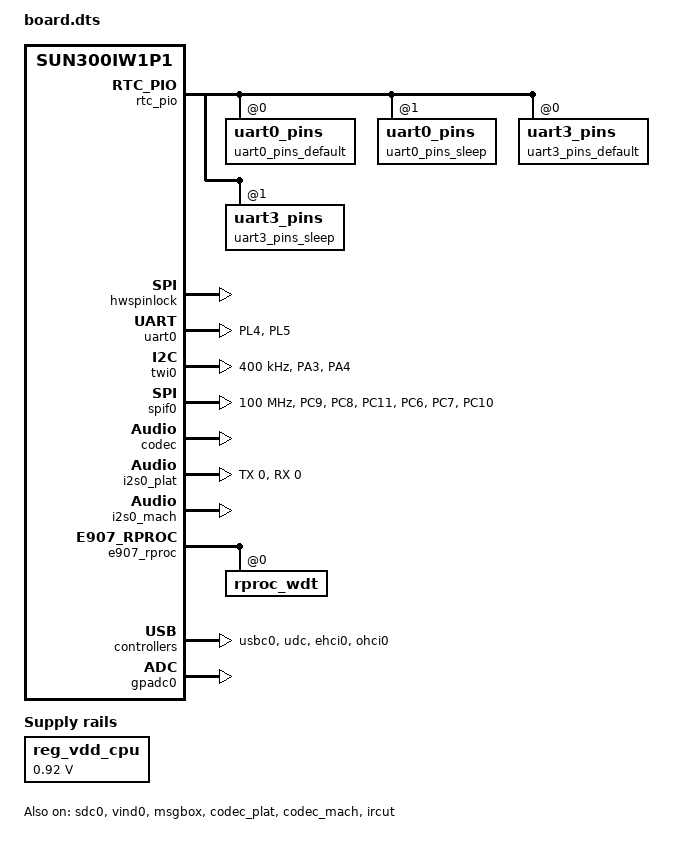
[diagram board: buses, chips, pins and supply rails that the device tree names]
// SPDX-License-Identifier: (GPL-2.0+ or MIT)

/dts-v1/;

#include "sun300iw1p1.dtsi"

/{
	board = "V821", "V821-Avaota F1";
	compatible = "allwinner,v821", "riscv,sun300iw1p1";
	aliases {
	};

	reg_vdd_cpu: vdd-cpu {
		compatible = "regulator-fixed";
		regulator-name = "vdd_cpu";
		regulator-min-microvolt = <920000>;
		regulator-max-microvolt = <920000>;
		regulator-always-on;
		regulator-boot-on;
		status = "okay";
	};

	/* used for hib & ultra standby poweron source enable mask */
	/* bit 0 ~ bit 7 - pl 0 ~pl 7 */
	/* bit 9 rtc alarm0 */
	/* bit 10 rtc alarm1 */
	/* bit 11 wakeuptimer */
	/* bit 12 wlan, keep 0 because hib has no wlan and ultra wakes up by wlan on remote core */
	poweron-source {
		hib_poweron_source  = <0x000007FF>;
		ultra_poweron_source  = <0x000007FF>;
	};

	reserved-memory {
		rv_ddr_reserved: rvddrreserved@81000000 {
			reg = <0x0 0x81000000 0x0 0x200000>;
			no-map;
		};
		/*
		* The name should be "vdev%dbuffer".
		* Its size should be not less than
		*     RPMSG_BUF_SIZE * (num of buffers in a vring) * 2
		*   = 512 * (num of buffers in a vring) * 2
		*/
		rv_vdev0buffer: vdev0buffer@81200000 {
			compatible = "shared-dma-pool";
			reg = <0x0 0x81200000 0x0 0x40000>;
			no-map;
		};
		/*
		* The name should be "vdev%dvring%d".
		* The size of each should be not less than
		*     PAGE_ALIGN(vring_size(num, align))
		*   = PAGE_ALIGN(16 * num + 6 + 2 * num + (pads for align) + 6 + 8 * num)
		*
		* (Please refer to the vring layout in include/uapi/linux/virtio_ring.h)
		*/
		rv_vdev0vring0: vdev0vring0@81240000 {
			reg = <0x0 0x81240000 0x0 0x2000>;
			no-map;
		};

		rv_vdev0vring1: vdev0vring1@81242000 {
			reg = <0x0 0x81242000 0x0 0x2000>;
			no-map;
		};

		e907_mem_fw: e907_mem_fw@81244000 {
			/* boot0 & uboot0 load elf addr */
			reg = <0x0 0x81244000 0x0 0x00200000>;
		};

		e907_share_irq_table: share_irq_table@81644000 {
			reg = <0x0 0x81644000 0x0 0x2000>;
			no-map;
		};

		e907_rpbuf_reserved:e907_rpbuf@81646000 {
			compatible = "shared-dma-pool";
			reg = <0x0 0x81646000 0x0 0x8000>;
			no-map;
		};

		size_pool {
			reg = <0 0x82000000 0 0x01400000>;
		};

		linux,cma {
			size = <0x0 0x400000>;
		};
	};

	reserved-irq {
		share-e907 {
			arch-name = "e907";
			memory-region = <&e907_share_irq_table>;
			/* defined by sun300iw1-share-irq-dt.h */
			share-irq =
					<1    0x1    E907_PA_IRQ_NUM    A27_PA_IRQ_NUM    0x00000000>,
					<3    0x3    E907_PC_IRQ_NUM    A27_PC_IRQ_NUM    0x00000000>,
					<4    0x4    E907_PD_IRQ_NUM    A27_PD_IRQ_NUM    0x00000000>,
					<12   0xc    E907_PL_IRQ_NUM    A27_PL_IRQ_NUM    0x00000000>;
		};
	};

	hifbypass: hifbypass {
		compatible = "allwinner,sun300wi-sip-wifi";
		interrupts-extended = <&plic0 160 IRQ_TYPE_LEVEL_HIGH>;
		clocks = <&aon_ccu CLK_DCXO>;
		clock-names = "hosc";
		status = "disabled";
	};

	rpbuf_controller0: rpbuf_controller0@0 {
		compatible = "allwinner,rpbuf-controller";
		remoteproc = <&e907_rproc>;
		ctrl_id = <0>;
		memory-region = <&e907_rpbuf_reserved>;
		status = "okay";
	};

	rpbuf_xradio: rpbuf_xradio@0 {
		compatible = "allwinner,rpbuf-xradio";
		rpbuf = <&rpbuf_controller0>;
		status = "okay";
	};

	heap_size_pool@0{
		compatible = "allwinner,size_pool";
		heap-name = "size_pool";
		heap-id = <0x7>;
		heap-base = <0x82000000>;
		heap-size = <0x01400000>;
		heap-type = "ion_size_pool";
		thrs = <100>;
		sizes = <0 20480>;
		fall_to_big_pool = <1>;
	};

	gpio-motor@0 {
		compatible = "allwinner,gpio-motor";
		ab-pin-black = <&pio PD 12 GPIO_ACTIVE_HIGH>;
		ab-pin-yellow = <&pio PD 13 GPIO_ACTIVE_HIGH>;
		ab-pin-brown = <&pio PD 14 GPIO_ACTIVE_HIGH>;
		ab-pin-blue = <&pio PD 15 GPIO_ACTIVE_HIGH>;
		cd-pin-black = <&pio PD 16 GPIO_ACTIVE_HIGH>;
		cd-pin-yellow = <&pio PD 17 GPIO_ACTIVE_HIGH>;
		cd-pin-brown = <&pio PD 18 GPIO_ACTIVE_HIGH>;
		cd-pin-blue = <&pio PD 19 GPIO_ACTIVE_HIGH>;
		status = "disabled";
	};

	ae350_standby_debug:ae350_standby_debug@1 {
		compatible = "allwinner,sun300iw1-ae350-standby-debug";
		mboxes = <&msgbox 2>;
		mbox-names = "ae350-notify";
		status = "okay";
	};
};

&rtc_pio {
	uart0_pins_default: uart0_pins@0 {
		pins = "PL4", "PL5";
		function = "uart0";
	};

	uart0_pins_sleep: uart0_pins@1 {
		pins = "PL4", "PL5";
		function = "io_disabled";
	};

	uart3_pins_default: uart3_pins@0 {
		pins = "PL2", "PL3";
		function = "uart3";
	};

	uart3_pins_sleep: uart3_pins@1 {
		pins = "PL2", "PL3";
		function = "io_disabled";
	};
};

&pio {
	uart1_pins_default: uart1_pins@0 {
		pins = "PD7", "PD8", "PD9", "PD10";
		function = "uart1";
	};

	uart1_pins_sleep: uart1_pins@1 {
		pins = "PD7", "PD8", "PD9", "PD10";
		function = "io_disabled";
	};

	uart2_pins_default: uart2_pins@0 {
		pins = "PA5", "PA6", "PA7", "PA8";
		function = "uart2";
	};

	uart2_pins_sleep: uart2_pins@1 {
		pins = "PA5", "PA6", "PA7", "PA8";
		function = "io_disabled";
	};

	gmac0_pins_default: gmac_pins@0 {
		pins = "PD1", "PD2", "PD3",
			"PD4", "PD5", "PD6", "PD7",
			"PD8", "PD9", "PD10", "PD11";
		function = "rmii";
		allwinner,drive = <3>;
		bias-pull-up;
	};

	gmac0_pins_sleep: gmac_pins@1 {
		pins = "PD1", "PD2", "PD3",
			"PD4", "PD5", "PD6", "PD7",
			"PD8", "PD9", "PD10", "PD11";
		function = "io_disabled";
	};

	pwm8_pins_active: pwm8@0 {
		pins = "PD18";
		function = "pwm0_8";
	};
	pwm8_pins_sleep: pwm8@1 {
		pins = "PD18";
		function = "gpio_in";
		bias-pull-down;
	};
	pwm9_pins_active: pwm9@0 {
		pins = "PD19";
		function = "pwm0_9";
	};
	pwm9_pins_sleep: pwm9@1 {
		pins = "PD19";
		function = "gpio_in";
		bias-pull-down;
	};

	twi0_pins_default: twi0@0 {
		pins = "PA3", "PA4";
		function = "twi0";
		allwinner,drive = <0>;
		bias-pull-up;
	};

	twi0_pins_sleep: twi0@1 {
		pins = "PA3", "PA4";
		function = "gpio_in";
	};

	spi0_pins_default: spi0@0 {
		pins = "PC9", "PC8", "PC11"; /* clk, mosi, miso */
		function = "spi0";
		allwinner,drive = <0>;
	};

	spi0_pins_cs: spi0@1 {
		pins = "PC6", "PC7", "PC10"; /* wp, hold, cs */
		function = "spi0";
		allwinner,drive = <0>;
		bias-pull-up;
	};

	spi0_pins_sleep: spi0@2 {
		pins = "PC6", "PC7", "PC9", "PC8", "PC11", "PC10";
		function = "io_disabled";
	};

	sdc0_pins_a: sdc0@0 {
		pins = "PC0", "PC1", "PC2",
				"PC3", "PC5";
		function = "sdc0";
		allwinner,drive = <3>;
		bias-pull-up;
	};

	sdc0_pins_c: sdc0@2 {
		pins = "PC0", "PC1", "PC2",
				"PC3", "PC4", "PC5";
		function = "gpio_in";
	};

	sdc0_pins_d: sdc0@3 {
		pins = "PC4";
		function = "sdc0";
		allwinner,drive = <3>;
		bias-disable;
	};

	/* for uboot card probe */
	sdc0_pins_uboot: sdc0@4 {
		allwinner,pins = "PC0", "PC1", "PC2",
				"PC3", "PC4", "PC5";
		allwinner,function = "sdc0";
		allwinner,muxsel = <2>;
		allwinner,drive = <3>;
		allwinner,pull = <1>;
		power-source = <3300>;
	};

	spif_pins_default: spif@0 {
		pins = "PC9", "PC8", "PC11"; /* clk, mosi, miso */
		function = "spif";
		allwinner,drive = <1>;
	};

	spif_pins_cs: spif@1 {
		pins = "PC6", "PC7", "PC10"; /* wp, hold, cs */
		function = "spif";
		allwinner,drive = <1>;
		bias-pull-up;
	};

	spif_pins_sleep: spif@2 {
		pins = "PC6", "PC7", "PC9", "PC8", "PC11", "PC10";
		function = "io_disabled";
	};
};

&soc {
	card0_boot_para@0 {
		device_type = "card0_boot_para";
		card_ctrl = <0x0>;
		card_high_speed = <0x1>;
		card_line = <0x4>;
		pinctrl-0 = <&sdc0_pins_uboot>;
		clk_type = "typ1";
	};
	addr_mgt: addr_mgt {
		compatible = "allwinner,sunxi-addr_mgt";
		type_addr_wifi = <0x0>;
		type_addr_bt   = <0x0>;
		type_addr_eth  = <0x0>;
		status = "okay";
	};
};

&hwspinlock {
	status = "okay";
};

&uart0 {
	pinctrl-names = "default", "sleep";
	pinctrl-0 = <&uart0_pins_default>;
	pinctrl-1 = <&uart0_pins_sleep>;
	status = "okay";
};

&uart1 {
	pinctrl-names = "default", "sleep";
	pinctrl-0 = <&uart1_pins_default>;
	pinctrl-1 = <&uart1_pins_sleep>;
	status = "disabled";
};

&uart2 {
	pinctrl-names = "default", "sleep";
	pinctrl-0 = <&uart2_pins_default>;
	pinctrl-1 = <&uart2_pins_sleep>;
	status = "disabled";
};

&uart3 {
	pinctrl-names = "default", "sleep";
	pinctrl-0 = <&uart3_pins_default>;
	pinctrl-1 = <&uart3_pins_sleep>;
	status = "disabled";
};

&twi0 {
	clock-frequency = <400000>;
	pinctrl-0 = <&twi0_pins_default>;
	pinctrl-1 = <&twi0_pins_sleep>;
	pinctrl-names = "default", "sleep";
	/* For stability and backwards compatibility, we recommend setting 'twi_drv_used' to 1 */
	twi_drv_used = <1>;
	status = "okay";
};

&soc_pmu0 {
	status = "okay";
};

&sdc0 {
	pinctrl-names = "default", "sleep";
	pinctrl-0 = <&sdc0_pins_a &sdc0_pins_d>;
	pinctrl-1 = <&sdc0_pins_c>;
	bus-width = <4>;
	cd-used-24M;
	cd-gpios = <&pio PC 15 (GPIO_ACTIVE_LOW | GPIO_PULL_UP)>;
	/*non-removable;*/
	/*broken-cd;*/
	/*cd-inverted*/
	/*data3-detect;*/
	cap-sd-highspeed;
	/*sd-uhs-sdr50;*/
	/*sd-uhs-ddr50;*/
	/*sd-uhs-sdr104;*/
	no-sdio;
	no-mmc;
	/*sunxi-power-save-mode;*/
	sunxi-dis-signal-vol-sw;
	max-frequency = <50000000>;
	ctl-spec-caps = <0x8>;
	status = "okay";
};

&pwm0_8 {
	pinctrl-names = "active", "sleep";
	pinctrl-0 = <&pwm8_pins_active>;
	pinctrl-1 = <&pwm8_pins_sleep>;
	status = "disabled";
};

&pwm0_9 {
	pinctrl-names = "active", "sleep";
	pinctrl-0 = <&pwm9_pins_active>;
	pinctrl-1 = <&pwm9_pins_sleep>;
	status = "disabled";
};

&spi0 {
	pinctrl-0 = <&spi0_pins_default &spi0_pins_cs>;
	pinctrl-1 = <&spi0_pins_sleep>;
	pinctrl-names = "default", "sleep";
	sunxi,spi-bus-mode = <SUNXI_SPI_BUS_NOR>;
	sunxi,spi-cs-mode = <SUNXI_SPI_CS_SOFT>;
	status = "disabled";

	dmas;
	dma-names;
	spi_board0 {
		device_type = "spi_board0";
		compatible = "spi-nor";
		spi-max-frequency = <100000000>;
		m25p,fast-read = <1>;
		/*individual_lock;*/
		reg = <0x0>;
		spi-rx-bus-width = <4>;
		spi-tx-bus-width = <4>;
		status = "disabled";
	};
};

&spif0 {
	clock-frequency = <100000000>;
	pinctrl-0 = <&spif_pins_default &spif_pins_cs>;
	pinctrl-1 = <&spif_pins_sleep>;
	pinctrl-names = "default", "sleep";
	spif-rx-bus-width = <0x4>;
	spif-tx-bus-width = <0x4>;
	//prefetch_read_mode_enabled;	/* choose prefect read mode */
	dtr_mode_enabled;				/* choose double edge trigger mode */
	io_mode_enabled;				/* 1_x_x && x_x_x mode */
	status = "okay";

	spif-nor  {
		device_type = "spi_board0";
		compatible = "spif-nor";
		spi-max-frequency = <0x5f5e100>;
		reg = <0x0>;
		status = "disabled";
	};
};

&mdio0 {
	status = "disabled";
	phy0: ethernet-phy@0 {
		/* JL11x1 */
		compatible = "ethernet-phy-id937c.4024",
			"ethernet-phy-ieee802.3-c22";
		reg = <0>;
		max-speed = <100>;  /* Max speed capability for rmii */
		reset-gpios = <&pio PC 16 GPIO_ACTIVE_LOW>;
		/* PHY datasheet rst time */
		reset-assert-us = <200000>;
		reset-deassert-us = <150000>;
		status = "disabled";
	};
};

&gmac0 {
	phy-mode = "rmii";
	pinctrl-names = "default", "sleep";
	pinctrl-0 = <&gmac0_pins_default>;
	pinctrl-1 = <&gmac0_pins_sleep>;
	sunxi,phy-clk-type = <0>;
	phy-handle = <&phy0>;
	tx-delay = <0>;
	rx-delay = <0>;
	status = "disabled";
};

&vind0 {
	csi_top = <200000000>;
	status = "okay";

	csi0: csi@45820000 {
		pinctrl-names = "csi_sm-default","csi_sm-sleep";
		pinctrl-0 = <>;
		pinctrl-1 = <>;
	};

	csi1: csi@45821000 {
		pinctrl-names = "default","sleep";
		pinctrl-0 = <&ncsi_bt656_pins_a>;
		pinctrl-1 = <&ncsi_bt656_pins_b>;
		status = "disabled";
	};

	tdm0: tdm@45908000 {
		work_mode = <0x0>;
	};

	isp00:isp@45900000 {
		work_mode = <0x0>;
		ldci_select = <0x1>;
	};

	isp01:isp@458ffffc {
		status = "disabled";
		ldci_select = <0x1>;
	};

	isp10:isp@4 {
		status = "disabled";
	};

	scaler00:scaler@45910000 {
		work_mode = <0x0>;
		status = "okay";
	};

	scaler01:scaler@4590fffc {
		work_mode = <0xff>;
		status = "disabled";
	};

	scaler10:scaler@45910400 {
		work_mode = <0x0>;
		status = "okay";
	};

	scaler11:scaler@459103fc {
		work_mode = <0xff>;
		status = "disabled";
	};

	actuator0: actuator@2108180 {
		device_type = "actuator0";
		actuator0_slave = <0x18>;
		actuator0_af_pwdn = <>;
		actuator0_afvdd = "afvcc-csi";
		actuator0_afvdd_vol = <2800000>;
		status = "disabled";
		actuator0_name;
	};

	flash0: flash@2108190 {
		device_type = "flash0";
		flash0_type = <2>;
		flash0_en = <>;
		flash0_mode = <>;
		flash0_flvdd = "";
		flash0_flvdd_vol = <>;
		device_id = <0>;
		status = "disabled";
	};

	sensor0: sensor@5812000 {
		device_type = "sensor0";
		sensor0_mname = "gc2083_mipi";
		sensor0_twi_cci_id = <0>;
		sensor0_twi_addr = <0x6e>;
		sensor0_mclk_id = <0>;
		sensor0_pos = "rear";
		sensor0_isp_used = <1>;
		sensor0_fmt = <1>;
		sensor0_stby_mode = <0>;
		sensor0_vflip = <0>;
		sensor0_hflip = <0>;
		sensor0_iovdd-supply = <>;
		sensor0_iovdd_vol = <>;
		sensor0_avdd-supply = <>;
		sensor0_avdd_vol = <>;
		sensor0_dvdd-supply = <>;
		sensor0_dvdd_vol = <>;
		sensor0_power_en = <>;
		sensor0_reset = <&pio PA 2 GPIO_ACTIVE_LOW>;
		sensor0_pwdn = <>;
		status = "okay";
		act_handle = <>;
	};

	sensor1: sensor@5812010 {
		device_type = "sensor1";
		sensor1_mname = "gc1084_mipi_2";
		sensor1_twi_cci_id = <0>;
		sensor1_twi_addr = <0x7e>;
		sensor1_mclk_id = <1>;
		sensor1_pos = "front";
		sensor1_isp_used = <1>;
		sensor1_fmt = <1>;
		sensor1_stby_mode = <0>;
		sensor1_vflip = <0>;
		sensor1_hflip = <0>;
		sensor1_iovdd-supply = <>;
		sensor1_iovdd_vol = <>;
		sensor1_avdd-supply = <>;
		sensor1_avdd_vol = <>;
		sensor1_dvdd-supply = <>;
		sensor1_dvdd_vol = <>;
		sensor1_power_en = <>;
		sensor1_reset = <&pio PD 13 GPIO_ACTIVE_LOW>;
		status = "disabled";
	};

	sensor_list0:sensor_list@200b820 {
		sensor00_mname = "gc5035_mipi";
		sensor00_twi_addr = <0x6c>;
		sensor00_type = <1>;
		sensor00_hflip = <0>;
		sensor00_vflip = <0>;
		sensor00_act_used = <1>;
		sensor00_act_name = "dw9714_act";
		sensor00_act_twi_addr = <0x18>;
		sensor01_mname = "ov5675_mipi";
		sensor01_twi_addr = <0x6c>;
		sensor01_type = <1>;
		sensor01_hflip = <0>;
		sensor01_vflip = <0>;
		sensor01_act_used = <1>;
		sensor01_act_name = "dw9714_act";
		sensor01_act_twi_addr = <0x18>;
		sensor02_mname = "sp5409_mipi";
		sensor02_twi_addr = <0x78>;
		sensor02_type = <1>;
		sensor02_hflip = <0>;
		sensor02_vflip = <0>;
		sensor02_act_used = <1>;
		sensor02_act_name = "dw9714_act";
		sensor02_act_twi_addr = <0x18>;
		status = "disabled";
	};

	sensor_list1:sensor_list@200b830 {
		sensor10_mname = "gc02m2_mipi";
		sensor10_twi_addr = <0x20>;
		sensor10_type = <1>;
		sensor10_hflip = <0>;
		sensor10_vflip = <0>;
		sensor10_act_used = <0>;
		sensor10_act_name = "";
		sensor10_act_twi_addr = <>;
		sensor11_mname = "ov02a10_mipi";
		sensor11_twi_addr = <0x7a>;
		sensor11_type = <1>;
		sensor11_hflip = <1>;
		sensor11_vflip = <0>;
		sensor11_act_used = <0>;
		sensor11_act_name = "";
		sensor11_act_twi_addr = <>;
		sensor12_mname = "gc030a_mipi";
		sensor12_twi_addr = <0x42>;
		sensor12_type = <1>;
		sensor12_hflip = <0>;
		sensor12_vflip = <0>;
		sensor12_act_used = <0>;
		sensor12_act_name = "";
		sensor12_act_twi_addr = <>;
		status = "disabled";
	};

	vinc00:vinc@45830000 {
		vinc0_csi_sel = <0>;
		vinc0_mipi_sel = <0>;
		vinc0_isp_sel = <0>;
		vinc0_isp_tx_ch = <0>;
		vinc0_tdm_rx_sel = <0>;
		vinc0_rear_sensor_sel = <0>;
		vinc0_front_sensor_sel = <0>;
		vinc0_sensor_list = <0>;
		work_mode = <0x0>;
		status = "okay";
	};

	vinc01:vinc@4582fffc {
		vinc1_csi_sel = <1>;
		vinc1_mipi_sel = <1>;
		vinc1_isp_sel = <1>;
		vinc1_isp_tx_ch = <0>;
		vinc1_tdm_rx_sel = <1>;
		vinc1_rear_sensor_sel = <0>;
		vinc1_front_sensor_sel = <0>;
		vinc1_sensor_list = <0>;
		status = "disabled";
	};

	vinc10:vinc@45831000 {
		vinc4_csi_sel = <0>;
		vinc4_mipi_sel = <0>;
		vinc4_isp_sel = <0>;
		vinc4_isp_tx_ch = <0>;
		vinc4_tdm_rx_sel = <0>;
		vinc4_rear_sensor_sel = <0>;
		vinc4_front_sensor_sel = <0>;
		vinc4_sensor_list = <0>;
		work_mode = <0x0>;
		status = "okay";
	};

	vinc11:vinc@45830ffc {
		vinc5_csi_sel = <1>;
		vinc5_mipi_sel = <1>;
		vinc5_isp_sel = <1>;
		vinc5_isp_tx_ch = <0>;
		vinc5_tdm_rx_sel = <1>;
		vinc5_rear_sensor_sel = <0>;
		vinc5_front_sensor_sel = <0>;
		vinc5_sensor_list = <0>;
		status = "disabled";
	};

};

&msgbox {
	status = "okay";
};

/* audio dirver module -> audio codec */

&codec {
	tx-hub-en;
	rx-sync-en;

	dac-vol	= <63>;		/* default value:63 range:0->63 */
	dacl-vol	= <160>;	/* default value:160 range:0->255 */
	adc-vol		= <160>;	/* default value:160 range:0->255 */
	lineout-gain	= <31>;		/* default value:31 range:0->31 */
	mic-gain	= <31>;		/* default value:31 range:0->31 */
	adcdelaytime	= <0>;	/* default value:0 range:0,5,10,20,30 */

	pa-pin-max	= <1>;
	pa-pin-0	= <&pio PC 15 GPIO_ACTIVE_HIGH>;
	pa-pin-level-0	= <1>;
	pa-pin-msleep-0	= <0>;

	rglt-max	= <0>;
	//rglt0-mode	= "AUDIO";
	//rglt0-voltage	= <1800000>;
	//rglt1-mode	= "PMU";
	//rglt1-voltage	= <3300000>;
	//rglt1-supply	= <&reg_dldo1>;

	status = "okay";
};

&codec_plat {
	status = "okay";
};

&codec_mach {
	status = "okay";
	soundcard-mach,cpu {
		sound-dai = <&codec_plat>;
	};
	soundcard-mach,codec {
		sound-dai = <&codec>;
	};
};

/* audio dirver module -> I2S/PCM */
&i2s0_plat {
	tdm-num		= <0>;

	/* "tx-pin"
	* 1. tx pin enable setting.
	* 2. we can set it like tx_pin = <3 0> - enable tx_pin0 and tx_pin3.
	*
	* "rx-pin"
	* 1. rx pin enable setting.
	* 2. we can set it like rx_pin = <1 2> - enable rx_pin1 and rx_pin2.
	*
	* "tx-pin-chmap"
	* 1. tx pin channel map setting.
	* 2. the subscript of value corresponds to the channel number.
	* 3. the value corresponds to slot number.
	* 4. we can use it like tx-pin1-chmap = <1 2 ... 15> to set pin1 channel map.
	* 5. if enabled the pin, but not set "tx-pin-chmap", default set <0 1 2 ...>.
	* 6. if the count of value is less than 16, then missing member will be set 0.
	*
	* rxfifo map
	* 1. "rxfifo-pinmap" - set the corresponding pin.
	* 2. "rxfifo-chmap" - set the corresponding slot.
	* 3. we can use it like rxfifo-pinmap = <0 1 2>; rxfifo-chmap = <1 2 14>; to set rxfifo map.
	* 4. the count of value of "rxfifo-pinmap" can != the count of value of "rxfifo-pinmap",
	*    then missing member would be set 0.
	*/
	tx-pin		= <0>;
	rx-pin		= <0>;
	/* tx-pin0-chmap = <0 1 5>; */
	/* rxfifo-pinmap = <0 0>; */
	/* rxfifo-chmap = <0 1>; */

	//pinctrl-used;
	//pinctrl-names	= "default","sleep";
	//pinctrl-0	= <&i2s0_pins_a &i2s0_pins_c &i2s0_pins_d>;
	//pinctrl-1	= <&i2s0_pins_b>;
	tx-hub-en;
	rx-sync-en;
	status		= "okay";
};

&i2s0_mach {
	soundcard-mach,format		= "i2s";
	soundcard-mach,frame-master	= <&i2s0_cpu>;
	soundcard-mach,bitclock-master	= <&i2s0_cpu>;
	/* soundcard-mach,frame-inversion; */
	/* soundcard-mach,bitclock-inversion; */
	soundcard-mach,slot-num		= <2>;
	soundcard-mach,slot-width	= <32>;
	status		= "okay";
	i2s0_cpu: soundcard-mach,cpu {
		sound-dai = <&i2s0_plat>;
		/* note: pll freq = 24.576M or 22.5792M * pll-fs */
		soundcard-mach,pll-fs	= <1>;
		/* note:
		* "mclk-fs"
		* if not defined it or equal to 0, disable mclk.
		*
		* "mclk-fp" (if defined "mclk-fs")
		* 1. if not defined "mclk-fp", mclk_freq = mclk-fs * sample_rate;
		* 2. if defined "mclk-fp" but no value, mclk_freq = mclk-fs * 11.2896M or 12.288M;
		* 3. if defined "mclk-fp" with 2 value, like: mclk-fp = <val1 val2>;
		*    it means: mclk_freq(44.1k fp) = mclk-fs * val1;
		*              mclk_freq(48k fp)   = mclk-fs * val2.
		*/
	};
	i2s0_codec: soundcard-mach,codec {
	};
};

&e907_rproc {
	firmware-name = "amp_rv0.bin";
	mboxes = <&msgbox 0>;
	mbox-names = "arm-kick";
	auto-boot;
	skip-shutdown;
	fw-region = <&e907_mem_fw>;
	memory-region = <&rv_ddr_reserved>, <&rv_vdev0buffer>, <&rv_vdev0vring0>, <&rv_vdev0vring1>, <&e907_share_irq_table>;
	fw-partitions = "riscv0", "riscv0-r";
	fw-partition-sectors = <2432>;
	memory-mappings =
	/* < DA         len             PA >    */
	/* SRAM ISP */
	< 0x2000000        0xa800        0x2000000 >,
	/* SRAM VE */
	< 0x200a800        0x17400       0x200a800 >,
	/* SRAM WIFI */
	< 0x68000000       0x1000000     0x68000000 >,
	/* DRAM */
	< 0x80000000       0x0fffffff    0x80000000 >;
	stop-record-reg = <0x4a00020c>;

	share-irq = "e907";
	status = "okay";

	rproc_wdt: rproc_wdt@0 {
		timeout_ms = <6000>;
		try_times = <1>;
		reset_type = <0x2>;
		panic_on_timeout = <1>;
		status = "okay";
	};
};
/*
*usb_port_type: usb mode: 0-device, 1-host, 2-otg.
*usb_detect_type: usb hotplug detect mode. 0-none, 1-vbus/id detect, 2-id/dpdm detect.
*usb_detect_mode: 0-thread scan, 1-id gpio interrupt.
*usb_id_gpio: gpio for id detect.
*usb_det_vbus_gpio: gpio for id detect. gpio or "axp_ctrl";
*usb_wakeup_suspend：0-SUPER_STANDBY, 1-USB_STANDBY.
*/
&usbc0 {
	device_type = "usbc0";
	usb_port_type = <0x0>;
	usb_detect_type = <0x0>;
	usb_detect_mode = <0x0>;
	//usb_id_gpio;
	//usb_det_vbus_gpio;
	//usb_det_vbus_gpio = "axp_ctrl";
	//det_vbus_supply;
	usb_regulator_io = "nocare";
	usb_wakeup_suspend = <0x0>;
	usb_luns = <0x3>;
	usb_serial_unique = <0x0>;
	usb_serial_number = "20080411";
	status = "okay";
};

&udc {
	//det_vbus_supply = <&gpio_charger>;
	status = "okay";
};

&ehci0 {
	//drvvbus-supply = <&reg_usb_vbus>;
	status = "okay";
};

&ohci0 {
	//drvvbus-supply = <&reg_usb_vbus>;
	status = "okay";
};

&gpadc0 {
	channel_num = <4>;
	channel_select = <0x3>;
	channel_data_select = <0x0>;
	channel_compare_select = <0x0>;
	channel_cld_select = <0x0>;
	channel_chd_select = <0x0>;
	channel0_compare_lowdata = <1700000>;
	channel0_compare_higdata = <1200000>;
	channel1_compare_lowdata = <460000>;
	channel1_compare_higdata = <1200000>;
	status = "okay";
};

/*----------------------------------------------------------------------------------
disp init configuration

disp_mode             (0:screen0<screen0,fb0>)
screenx_output_type   (0:none; 1:lcd; 2:tv; 3:hdmi;5:vdpo)
screenx_output_mode   (used for hdmi output, 0:480i 1:576i 2:480p 3:576p 4:720p50)
					(5:720p60 6:1080i50 7:1080i60 8:1080p24 9:1080p50 10:1080p60)
screenx_output_format (for hdmi, 0:RGB 1:yuv444 2:yuv422 3:yuv420)
screenx_output_bits   (for hdmi, 0:8bit 1:10bit 2:12bit 2:16bit)
screenx_output_eotf   (for hdmi, 0:reserve 4:SDR 16:HDR10 18:HLG)
screenx_output_cs     (for hdmi, 0:undefined  257:BT709 260:BT601  263:BT2020)
screenx_output_dvi_hdmi (for hdmi, 0:undefined 1:dvi mode 2:hdmi mode)
screen0_output_range   (for hdmi, 0:default 1:full 2:limited)
screen0_output_scan    (for hdmi, 0:no data 1:overscan 2:underscan)
screen0_output_aspect_ratio  (for hdmi, 8-same as original picture 9-4:3 10-16:9 11-14:9)
fbx format            (4:RGB655 5:RGB565 6:RGB556 7:ARGB1555 8:RGBA5551 9:RGB888 10:ARGB8888 12:ARGB4444)
fbx pixel sequence    (0:ARGB 1:BGRA 2:ABGR 3:RGBA)
fb0_scaler_mode_enable(scaler mode enable, used FE)
fbx_width,fbx_height  (framebuffer horizontal/vertical pixels, fix to output resolution while equal 0)
lcdx_backlight        (lcd init backlight,the range:[0,256],default:197
lcdx_yy               (lcd init screen bright/contrast/saturation/hue, value:0~100, default:50/50/57/50)
lcd0_contrast         (LCD contrast, 0~100)
lcd0_saturation       (LCD saturation, 0~100)
lcd0_hue              (LCD hue, 0~100)
framebuffer software rotation setting:
disp_rotation_used:   (0:disable; 1:enable,you must set fbX_width to lcd_y,
set fbX_height to lcd_x)
degreeX:              (X:screen index; 0:0 degree; 1:90 degree; 3:270 degree)
degreeX_Y:            (X:screen index; Y:layer index 0~15; 0:0 degree; 1:90 degree; 3:270 degree)
devX_output_type : config output type in bootGUI framework in UBOOT-2018.
				(0:none; 1:lcd; 2:tv; 4:hdmi;)
devX_output_mode : config output resolution(see include/video/sunxi_display2.h) of bootGUI framework in UBOOT-2018
devX_screen_id   : config display index of bootGUI framework in UBOOT-2018
devX_do_hpd      : whether do hpd detectation or not in UBOOT-2018
chn_cfg_mode     : Hardware DE channel allocation config. 0:single display with 6
				channel, 1:dual display with 4 channel in main display and 2 channel in second
				display, 2:dual display with 3 channel in main display and 3 channel in second
				in display.
----------------------------------------------------------------------------------*/
&disp {
	disp_init_enable         = <1>;
	disp_mode                = <0>;

	screen0_output_type      = <7>;
	screen0_output_mode      = <4>;
	screen0_to_lcd_index     = <0>;

	screen1_output_type      = <3>;
	screen1_output_mode      = <10>;
	screen1_to_lcd_index     = <2>;

	screen1_output_format    = <0>;
	screen1_output_bits      = <0>;
	screen1_output_eotf      = <4>;
	screen1_output_cs        = <257>;
	screen1_output_dvi_hdmi  = <2>;
	screen1_output_range     = <2>;
	screen1_output_scan      = <0>;
	screen1_output_aspect_ratio = <8>;

	fb_format                = <0>;
	fb_num                   = <1>;
	fb_debug                 = <1>;
	/*<disp channel layer zorder>*/
	fb0_map                  = <0 0 0 16>;
	fb0_width                = <320>;
	fb0_height               = <192>;
	/*<disp channel layer zorder>*/
	fb1_map                  = <0 2 0 16>;
	fb1_width                = <300>;
	fb1_height               = <300>;
	/*<disp channel layer zorder>*/
	fb2_map                  = <1 0 0 16>;
	fb2_width                = <1280>;
	fb2_height               = <720>;
	/*<disp channel layer zorder>*/
	fb3_map                  = <1 1 0 16>;
	fb3_width                = <300>;
	fb3_height               = <300>;

	chn_cfg_mode             = <1>;
	disp_para_zone           = <1>;
};

/*------------------------------------------
ircut_pin_a   : IRCUT PIN+
ircut_pin_b   : IRCUT PIN-
ircut_pin_drv : Set the driver strength for the IR cut pins
ircut_open    : Define the GPIO states for opening the IR cut <ircut_pin_a ircut_pin_b>
hold_time     : Set the hold time for the IR cut operation (in milliseconds)
--------------------------------------------*/
&ircut {
	ircut_pin_a = <&pio PD 22 GPIO_ACTIVE_HIGH>;
	ircut_pin_b = <&pio PD 23 GPIO_ACTIVE_HIGH>;
	ircut_pin_drv = <3>;
	ircut_open = <GPIO_ACTIVE_HIGH GPIO_ACTIVE_LOW>;
	hold_time = <100>;
	status = "okay";
};

&cpu0 {
	cpu-supply = <&reg_vdd_cpu>;
	operating-points-v2 = <&cpu_opp_table_vf0_1>;
};
